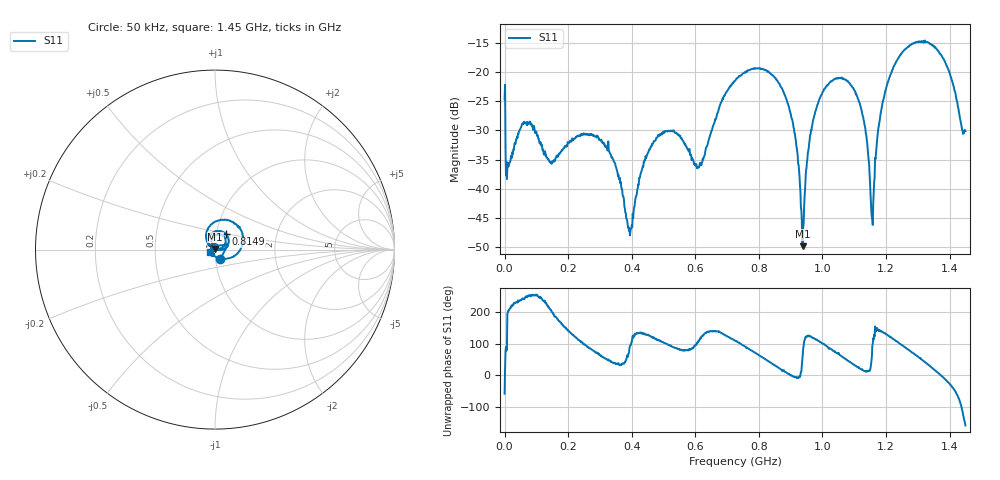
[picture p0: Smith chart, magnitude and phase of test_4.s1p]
! Created with skrf 1.11.0 (http://scikit-rf.org).
# Hz S RI R 50.0
!freq ReS11 ImS11
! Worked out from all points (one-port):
!   1001 points, 50 kHz to 1.45 GHz, reference 50 ohm
!   lowest |S11| = -49.8 dB at 938.2 MHz (marker M1), VSWR 1.01, Z = 50.1 + j0.292 ohm
!   |S11| at or under -10 dB: start of sweep to end of sweep
!   S11 on the Smith chart (normalised r, x): 50 kHz: 1.06, -0.11; 814.9 MHz: 1.11, +0.19; 1.45 GHz: 0.94, -0.02
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50000  0.0306 -0.05
1.16496e7  -0.014 -0.00657
6.239785e7  -0.0175 -0.0332
1.43595e8  -0.0149 -0.00813
1.812938e8  -0.0201 0.00708
2.871401e8  0.0088 0.0265
3.625375e8  0.0105 0.00656
3.944364e8  -0.000229 0.00398
4.567842e8  -0.0126 0.0177
5.437812e8  0.00312 0.0291
6.119289e8  -0.00535 0.0143
7.25025e8  -0.0294 0.079
8.149219e8  0.0613 0.0855
8.6857e8  0.071 0.0248
9.062688e8  0.0377 -0.00201
9.207682e8  0.0209 -0.00241
9.381676e8  0.00139 0.00291
9.599169e8  -0.0143 0.0219
9.889159e8  -0.0182 0.0537
1.038214e9  0.0234 0.0839
1.087512e9  0.0587 0.0523
1.131011e9  0.0367 0.00929
1.15711e9  -0.00031 0.00546
1.17306e9  -0.0237 0.0145
1.193359e9  -0.0424 0.043
1.268756e9  0.0212 0.1629
1.370253e9  0.1441 0.00526
1.45e9  -0.0293 -0.0109
